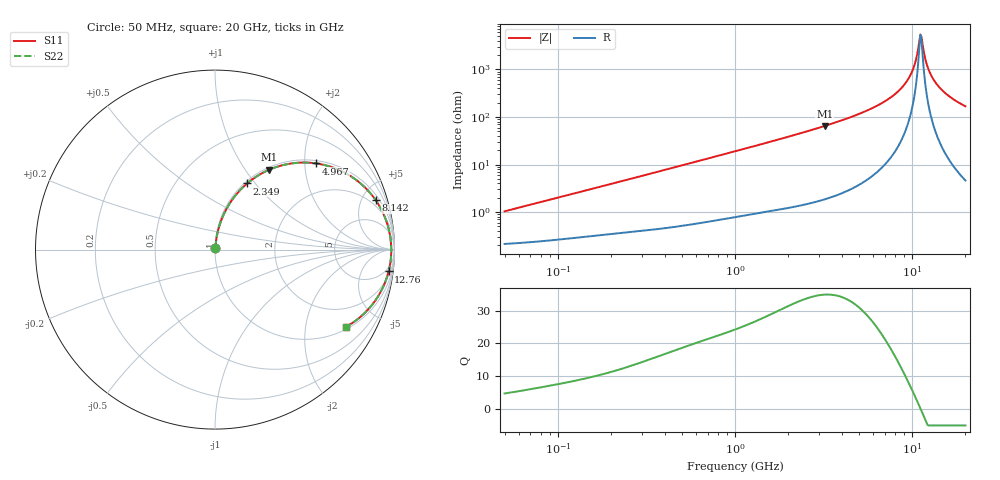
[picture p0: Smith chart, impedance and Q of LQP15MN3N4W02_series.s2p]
!Murata Part Number: LQP15MN3N4W02
!These Parameters are Measured in Series Mode Connection
!  o--[Z]--o
!Port1  Port2
!  o-------o
!Freq. Start=50[MHz] Stop=20[GHz], 401[Steps]
# Hz S RI R 50
!Freq.(Hz) S11(Real) S11(Imag) S21(Real) S21(Imag) S12(Real) S12(Imag) S22(Real) S22(Imag)
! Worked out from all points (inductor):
!   401 points, 50 MHz to 20 GHz, reference 50 ohm
!   read as one part in series: L = 3.22 nH near 51.52 MHz
!   highest Q = 34.9 at 3.217 GHz (marker M1), where L = 3.21 nH
!   self-resonance near 11.15 GHz
!   S11 on the Smith chart (normalised r, x): 50 MHz: 1.00, +0.02; 2.349 GHz: 1.03, +0.91; 4.967 GHz: 1.07, +2.28; 8.142 GHz: 1.41, +6.36; 12.76 GHz: 3, -15; 20 GHz: 1.09, -3.35
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5e7  0.00224 0.0101  0.9978 -0.0101  0.9978 -0.0101  0.00224 0.0101
1.364002e8  0.00368 0.0268  0.9963 -0.0268  0.9963 -0.0268  0.00368 0.0268
3.721004e8  0.00942 0.0705  0.9906 -0.0705  0.9906 -0.0705  0.00942 0.0705
1e9  0.0416 0.1802  0.9584 -0.1802  0.9584 -0.1802  0.0416 0.1802
2.348516e9  0.1792 0.3687  0.8208 -0.3687  0.8208 -0.3687  0.1792 0.3687
2.728004e9  0.2304 0.4067  0.7696 -0.4067  0.7696 -0.4067  0.2304 0.4067
3.216634e9  0.3012 0.4447  0.6988 -0.4447  0.6988 -0.4447  0.3012 0.4447
4.966507e9  0.5637 0.4802  0.4363 -0.4802  0.4363 -0.4802  0.5637 0.4802
6.217679e9  0.7256 0.427  0.2744 -0.427  0.2744 -0.427  0.7256 0.427
7.442007e9  0.8454 0.3363  0.1546 -0.3363  0.1546 -0.3363  0.8454 0.3363
8.141811e9  0.8956 0.275  0.1044 -0.275  0.1044 -0.275  0.8956 0.275
9.041845e9  0.9417 0.1921  0.0583 -0.1921  0.0583 -0.1921  0.9417 0.1921
9.892087e9  0.9682 0.1137  0.0318 -0.1137  0.0318 -0.1137  0.9682 0.1137
1.034674e10  0.9764 0.0727  0.0236 -0.0727  0.0236 -0.0727  0.9764 0.0727
1.098561e10  0.9818 0.017  0.0182 -0.017  0.0182 -0.017  0.9818 0.017
1.115139e10  0.9822 0.00302  0.0178 -0.00302  0.0178 -0.00302  0.9822 0.00302
1.149051e10  0.9817 -0.025  0.0183 0.025  0.0183 0.025  0.9817 -0.025
1.201863e10  0.9779 -0.0668  0.0221 0.0668  0.0221 0.0668  0.9779 -0.0668
1.276073e10  0.9674 -0.1217  0.0326 0.1217  0.0326 0.1217  0.9674 -0.1217
1.375312e10  0.9458 -0.1875  0.0542 0.1875  0.0542 0.1875  0.9458 -0.1875
1.527346e10  0.9013 -0.2719  0.0987 0.2719  0.0987 0.2719  0.9013 -0.2719
2e10  0.7323 -0.4292  0.2677 0.4292  0.2677 0.4292  0.7323 -0.4292
